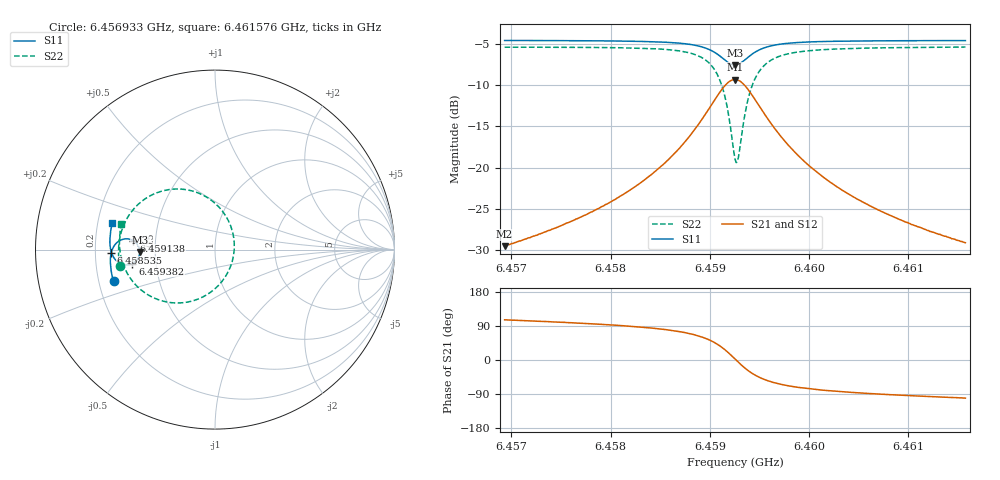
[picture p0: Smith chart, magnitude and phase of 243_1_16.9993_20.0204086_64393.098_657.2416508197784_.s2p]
#  HZ  S  RI  R  50.00
! Rohde & Schwarz Vector Network Analyzer
! Rohde-Schwarz,ZNB20-2Port,1311601062101988,3.16
! Created: UTC 3/20/2024, 11:02:57 PM
! freq[Hz]  re:S11  im:S11  re:S21  im:S21  re:S12  im:S12  re:S22  im:S22
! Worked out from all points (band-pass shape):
!   401 points, 6.456933 GHz to 6.461576 GHz, reference 50 ohm
!   highest |S21| = -9.30 dB at 6.459254 GHz (marker M1); lowest = -29.6 dB at 6.456933 GHz (marker M2)
!   |S21| within 3 dB of the highest: 6.459022 GHz to 6.459486 GHz (464.7 kHz wide, 0.00719 % of centre)
!   lowest |S11| = -7.5 dB at 6.459254 GHz (marker M3), VSWR 2.44, Z = 20.5 - j0.623 ohm
!   |S11| at or under -10 dB: nowhere
!   |S22| runs from -19.4 to -5.3 dB; largest |S21 - S12| = 0.013
!   S11 on the Smith chart (normalised r, x): 6.456933 GHz: 0.26, -0.14; 6.458535 GHz: 0.27, -0.01; 6.459138 GHz: 0.37, +0.05; 6.459382 GHz: 0.37, -0.07; 6.461576 GHz: 0.26, +0.12
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6.4569329e9  -0.5653 -0.1764  -0.00919 0.032  -0.0075 0.0321  -0.5308 -0.0926
6.4577106e9  -0.5799 -0.1088  -0.00603 0.05  -0.00355 0.0495  -0.5376 -0.00215
6.45814e9  -0.5831 -0.0659  -0.000211 0.0694  0.00302 0.0681  -0.5302 0.0655
6.4584882e9  -0.5797 -0.0245  0.0133 0.0981  0.0173 0.0955  -0.5055 0.1435
6.4585347e9  -0.5783 -0.0181  0.0167 0.1036  0.0208 0.1006  -0.4993 0.1566
6.4587436e9  -0.5662 0.0137  0.0425 0.1353  0.0467 0.1306  -0.4512 0.2284
6.4588945e9  -0.5452 0.0401  0.0848 0.1656  0.0882 0.1592  -0.3732 0.293
6.4590454e9  -0.4994 0.0598  0.1762 0.1849  0.1771 0.1776  -0.2064 0.3378
6.4591382e9  -0.455 0.05  0.2656 0.1544  0.2659 0.1485  -0.0407 0.2887
6.4591846e9  -0.434 0.0313  0.3092 0.1119  0.3105 0.1067  0.042 0.2133
6.4592543e9  -0.4192 -0.0125  0.3425 0.0159  0.3462 0.00902  0.1073 0.035
6.4592659e9  -0.4195 -0.0204  0.3426 -0.00164  0.3463 -0.00927  0.1072 0.00179
6.4592891e9  -0.4229 -0.0359  0.3372 -0.0361  0.3409 -0.0452  0.0966 -0.0635
6.4593355e9  -0.4383 -0.0618  0.3091 -0.0956  0.3112 -0.1075  0.0399 -0.1761
6.459382e9  -0.4602 -0.0779  0.2675 -0.1366  0.2669 -0.1497  -0.044 -0.2506
6.4594748e9  -0.5032 -0.0848  0.1837 -0.1678  0.1777 -0.1794  -0.211 -0.2975
6.4596257e9  -0.5468 -0.0644  0.0965 -0.1547  0.0881 -0.1609  -0.3775 -0.2494
6.4597882e9  -0.5682 -0.0369  0.0517 -0.1273  0.0443 -0.1302  -0.4579 -0.1784
6.4600319e9  -0.5811 -0.00139  0.0227 -0.0963  0.0168 -0.0969  -0.5062 -0.0965
6.4603685e9  -0.5857 0.0384  0.00703 -0.0704  0.00277 -0.0701  -0.5276 -0.0198
6.4608096e9  -0.5838 0.0827  -0.00123 -0.0514  -0.00394 -0.0506  -0.5326 0.0506
6.4615756e9  -0.5717 0.1506  -0.00641 -0.0343  -0.00804 -0.0334  -0.5216 0.1407
